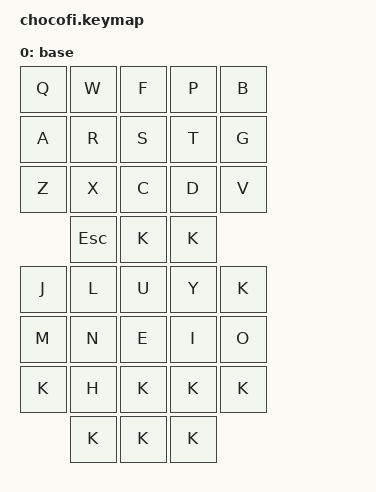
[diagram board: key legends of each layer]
#include <behaviors.dtsi>
#include <dt-bindings/zmk/keys.h>

#include "zmk-helpers/helper.h"



ZMK_LAYER(base,
  //┏━━━━━━━━━━━━━━━━━┳━━━━━━━━━━━━━━━━━┳━━━━━━━━━━━━━━━━━┳━━━━━━━━━━━━━━━━━┳━━━━━━━━━━━━━━━━━┓
          &kp Q            &kp W             &kp F            &kp P             &kp B
          &kp A            &kp R             &kp S            &kp T             &kp G
          &kp Z            &kp X             &kp C            &kp D             &kp V
                                                              &kp ESC           &kp K             &kp K
  //                                                      ┗━━━━━━━━━━━━━━━━━┻━━━━━━━━━━━━━━━━━┻━━━━━━━━━━━━━━━━━┛
  //                                                                      ┏━━━━━━━━━━━━━━━━━┳━━━━━━━━━━━━━━━━━┳━━━━━━━━━━━━━━━━━┳━━━━━━━━━━━━━━━━━┳━━━━━━━━━━━━━━━━━┓
                                                                           &kp J            &kp L             &kp U             &kp Y            &kp K
                                                                           &kp M            &kp N             &kp E             &kp I            &kp O
                                                                           &kp K            &kp H             &kp K             &kp K            &kp K
                                                          &kp K            &kp K            &kp K
  //                                                      ┗━━━━━━━━━━━━━━━━━┻━━━━━━━━━━━━━━━━━┻━━━━━━━━━━━━━━━━━┛
)


